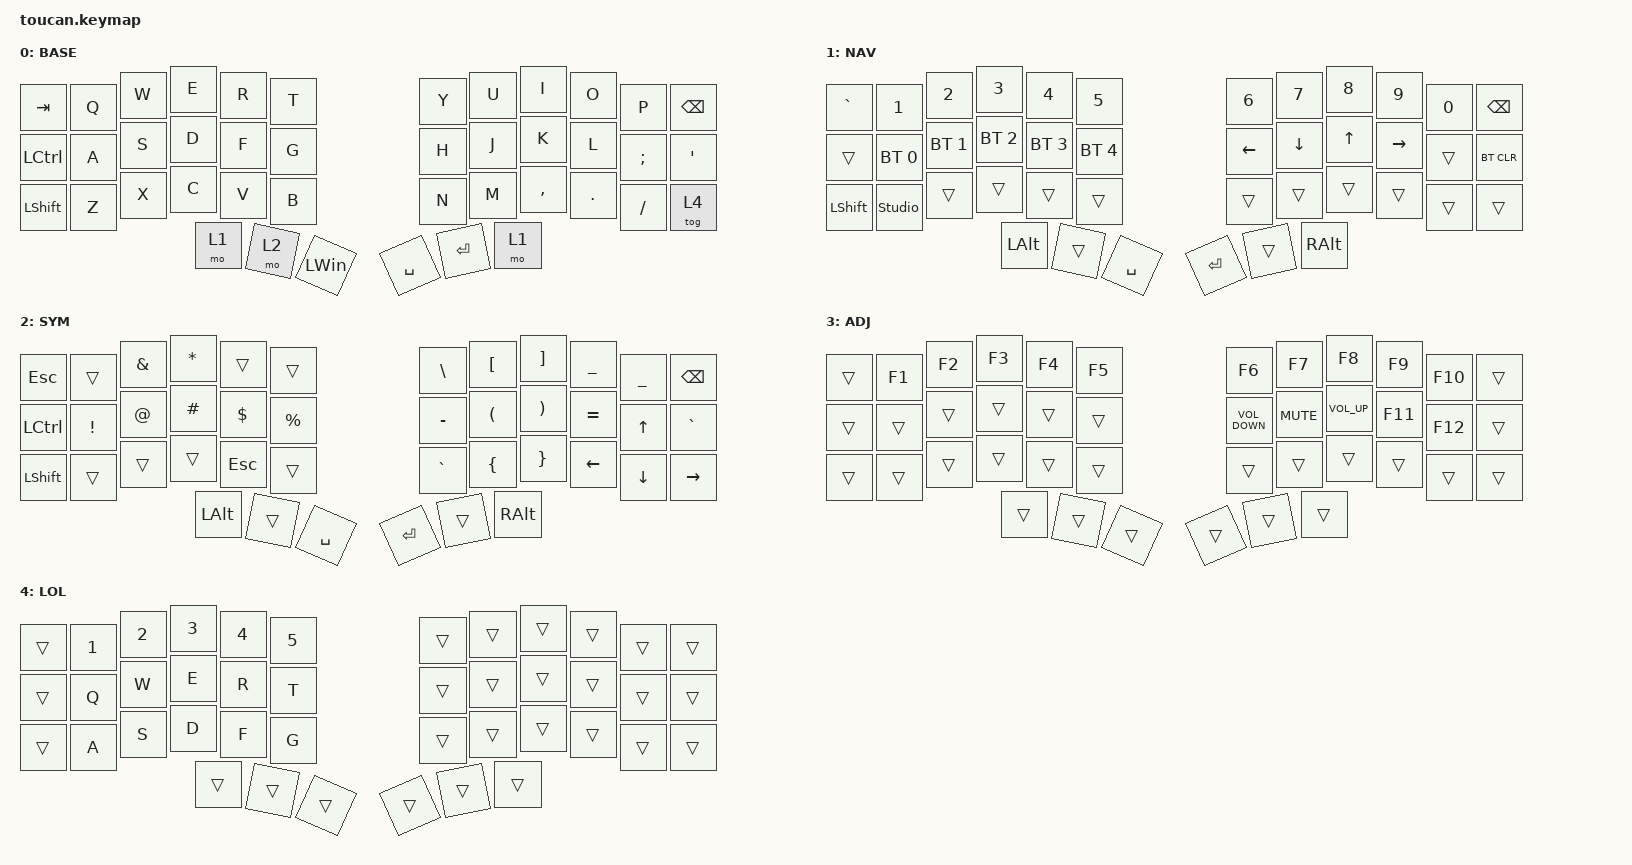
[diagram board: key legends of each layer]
#include <dt-bindings/zmk/mouse.h>
#include <behaviors.dtsi>
#include <dt-bindings/zmk/bt.h>
#include <dt-bindings/zmk/keys.h>

#define BASE 0
#define NAV  1
#define SYM  2
#define ADJ  3

/ {
    conditional_layers {
        compatible = "zmk,conditional-layers";

        tri_layer {
            if-layers = <1 2>;
            then-layer = <3>;
        };
    };

    keymap {
        compatible = "zmk,keymap";

        base {
            display-name = "BASE";
            bindings = <
&kp TAB  &kp Q  &kp W  &kp E  &kp R  &kp T  &kp Y  &kp U  &kp I  &kp O  &kp P  &kp BSPC  &kp LCTRL  &kp A  &kp S  &kp D  &kp F  &kp G  &kp H  &kp J  &kp K  &kp L  &kp SEMI  &kp SQT  &kp LSHFT  &kp Z  &kp X  &kp C  &kp V  &kp B  &kp N  &kp M  &kp COMMA  &kp DOT  &kp FSLH  &tog 4  &mo 1  &mo 2  &kp LEFT_WIN  &kp SPACE  &kp RET  &mo 1
            >;
        };

        nav {
            display-name = "NAV";
            bindings = <
&kp GRAVE  &kp N1  &kp N2  &kp N3  &kp N4  &kp N5  &kp N6  &kp N7  &kp N8  &kp N9  &kp N0  &kp BSPC  &trans  &bt BT_SEL 0  &bt BT_SEL 1  &bt BT_SEL 2  &bt BT_SEL 3  &bt BT_SEL 4  &kp LEFT  &kp DOWN  &kp UP  &kp RIGHT  &trans  &bt BT_CLR  &kp LSHFT  &studio_unlock  &trans  &trans  &trans  &trans  &trans  &trans  &trans  &trans  &trans  &trans  &kp LEFT_ALT  &trans  &kp SPACE  &kp RET  &trans  &kp RALT
            >;
        };

        sym {
            display-name = "SYM";
            bindings = <
&kp ESCAPE  &trans  &kp AMPERSAND  &kp STAR  &trans  &trans  &kp BACKSLASH  &kp LEFT_BRACKET  &kp RIGHT_BRACKET  &kp UNDERSCORE  &kp UNDERSCORE  &kp BSPC  &kp LCTRL  &kp EXCL  &kp AT  &kp HASH  &kp DOLLAR  &kp PERCENT  &kp MINUS  &kp LEFT_PARENTHESIS  &kp RIGHT_PARENTHESIS  &kp EQUAL  &kp UP_ARROW  &kp GRAVE  &kp LSHFT  &trans  &trans  &trans  &kp ESCAPE  &trans  &kp GRAVE  &kp LEFT_BRACE  &kp RIGHT_BRACE  &kp LEFT_ARROW  &kp DOWN_ARROW  &kp RIGHT_ARROW  &kp LEFT_ALT  &trans  &kp SPACE  &kp RET  &trans  &kp RALT
            >;
        };

        adj {
            display-name = "ADJ";
            bindings = <
&trans  &kp F1  &kp F2  &kp F3  &kp F4  &kp F5  &kp F6  &kp F7  &kp F8  &kp F9  &kp F10  &trans  &trans  &trans  &trans  &trans  &trans  &trans  &kp C_VOLUME_DOWN  &kp K_MUTE  &kp C_VOLUME_UP  &kp F11  &kp F12  &trans  &trans  &trans  &trans  &trans  &trans  &trans  &trans  &trans  &trans  &trans  &trans  &trans  &trans  &trans  &trans  &trans  &trans  &trans
            >;
        };

        LOL {
            bindings = <
&trans  &kp NUMBER_1  &kp NUMBER_2  &kp NUMBER_3  &kp NUMBER_4  &kp N5  &trans  &trans  &trans  &trans  &trans  &trans  &trans  &kp Q  &kp W  &kp E  &kp R  &kp T  &trans  &trans  &trans  &trans  &trans  &trans  &trans  &kp A  &kp S  &kp D  &kp F  &kp G  &trans  &trans  &trans  &trans  &trans  &trans  &trans  &trans  &trans  &trans  &trans  &trans
            >;
        };
    };
};
